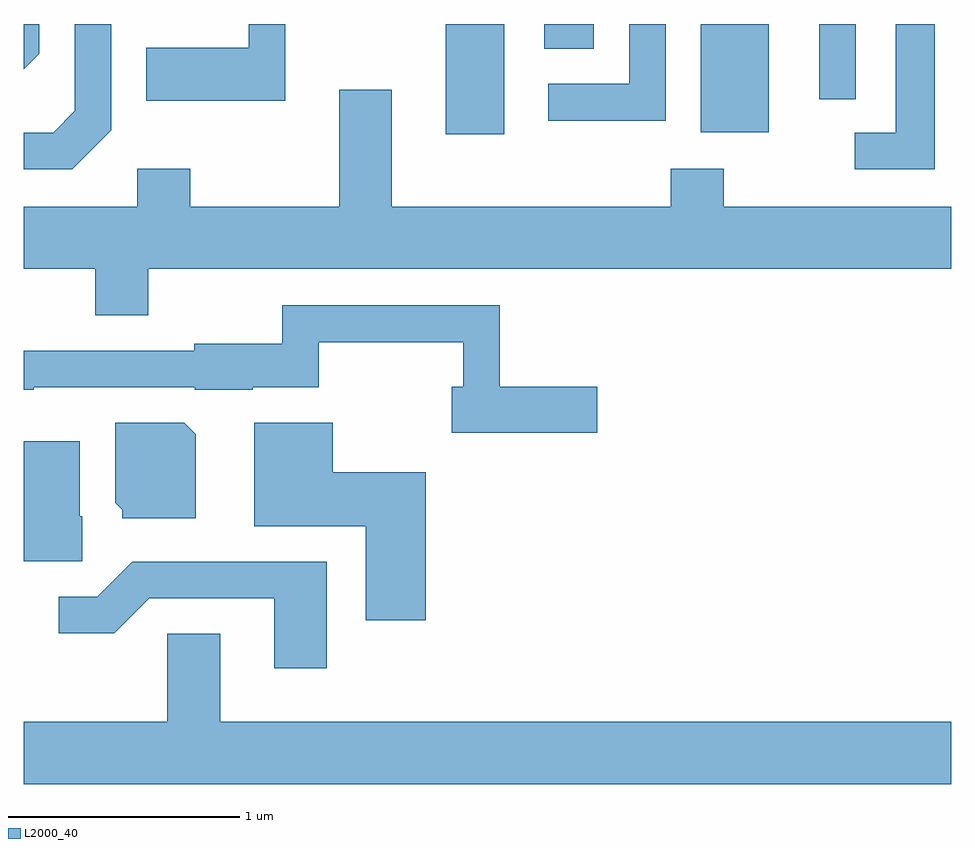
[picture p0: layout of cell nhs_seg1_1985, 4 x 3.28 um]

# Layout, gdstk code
import gdstk
lib = gdstk.Library(unit=1e-6, precision=1e-09)
def R(c, l, rs):  # rectangles x0, y0, x1, y1
    for r in rs: c.add(gdstk.rectangle(r[:2], r[2:], *l))
def P(c, l, *ps):  # polygons
    for p in ps: c.add(gdstk.Polygon(p, *l))
L2000_40 = (2000, 40)

nhs_seg1_1985 = lib.new_cell('nhs_seg1_1985')
R(nhs_seg1_1985, L2000_40, [(247.431,931.236,247.684,931.712), (248.531,931.246,248.824,931.712), (249.041,931.388,249.199,931.712), (247.856,931.606,248.069,931.712)])
P(nhs_seg1_1985, L2000_40, [(245.989,931.254),(245.989,931.712),(245.831,931.712),(245.831,931.337),(245.739,931.244),(245.611,931.244),(245.611,931.086),(245.822,931.086)],
  [(245.679,931.584),(245.679,931.712),(245.611,931.712),(245.611,931.516)],
  [(248.379,931.712),(248.221,931.712),(248.221,931.454),(247.873,931.454),(247.873,931.296),(248.379,931.296)],
  [(249.539,931.712),(249.371,931.712),(249.371,931.244),(249.193,931.244),(249.193,931.086),(249.539,931.086)],
  [(246.739,931.712),(246.581,931.712),(246.581,931.609),(246.141,931.609),(246.141,931.381),(246.739,931.381)],
  [(249.611,930.924),(248.629,930.924),(248.629,931.089),(248.401,931.089),(248.401,930.924),(247.199,930.924),(247.199,931.429),(246.971,931.429),(246.971,930.924),(246.329,930.924),(246.329,931.089),(246.101,931.089),(246.101,930.924),(245.611,930.924),(245.611,930.656),(245.921,930.656),(245.921,930.456),(246.149,930.456),(246.149,930.656),(249.611,930.656)],
  [(248.084,930.149),(247.664,930.149),(247.664,930.499),(246.726,930.499),(246.726,930.334),(246.346,930.334),(246.346,930.304),(245.611,930.304),(245.611,930.136),(245.655,930.136),(245.655,930.146),(246.35,930.146),(246.35,930.136),(246.6,930.136),(246.6,930.146),(246.884,930.146),(246.884,930.341),(247.506,930.341),(247.506,930.149),(247.456,930.149),(247.456,929.951),(248.084,929.951)],
  [(246.354,929.944),(246.304,929.994),(246.006,929.994),(246.006,929.649),(246.036,929.619),(246.036,929.581),(246.354,929.581)],
  [(247.344,929.779),(246.944,929.779),(246.944,929.994),(246.606,929.994),(246.606,929.546),(247.086,929.546),(247.086,929.141),(247.344,929.141)],
  [(245.864,929.59),(245.854,929.59),(245.854,929.914),(245.611,929.914),(245.611,929.396),(245.864,929.396)],
  [(246.919,929.394),(246.079,929.394),(245.929,929.244),(245.763,929.244),(245.763,929.086),(246.002,929.086),(246.152,929.236),(246.691,929.236),(246.691,928.936),(246.919,928.936)],
  [(249.611,928.704),(246.459,928.704),(246.459,929.084),(246.231,929.084),(246.231,928.704),(245.611,928.704),(245.611,928.436),(249.611,928.436)])

lib.write_gds('nhs_seg1_1985.gds')
